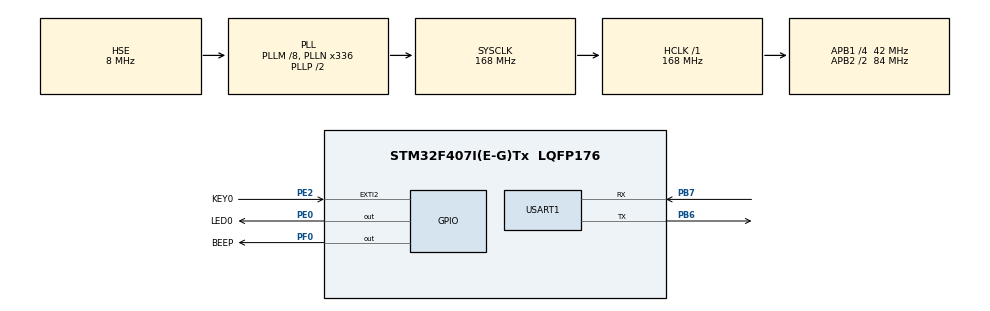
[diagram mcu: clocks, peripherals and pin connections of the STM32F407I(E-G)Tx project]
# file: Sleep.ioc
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Mcu.Family=STM32F4
Mcu.Name=STM32F407I(E-G)Tx
Mcu.Package=LQFP176
NVIC.EXTI2_IRQn=true\:1\:1\:true\:false\:true\:true
NVIC.PriorityGroup=NVIC_PRIORITYGROUP_2
PA13.Mode=Serial_Wire
PA13.Signal=SYS_JTMS-SWDIO
PA14.Mode=Serial_Wire
PA14.Signal=SYS_JTCK-SWCLK
PB6.Mode=Asynchronous
PB6.Signal=USART1_TX
PB7.Mode=Asynchronous
PB7.Signal=USART1_RX
PE0.GPIO_Label=LED0
PE0.GPIO_PuPd=GPIO_NOPULL
PE0.GPIO_Speed=GPIO_SPEED_FREQ_HIGH
PE0.PinState=GPIO_PIN_SET
PE0.Signal=GPIO_Output
PE2.GPIO_Label=KEY0
PE2.GPIO_ModeDefaultEXTI=GPIO_MODE_IT_FALLING
PE2.GPIO_PuPd=GPIO_PULLUP
PE2.Signal=GPXTI2
PF0.GPIO_Label=BEEP
PF0.GPIO_PuPd=GPIO_PULLUP
PF0.GPIO_Speed=GPIO_SPEED_FREQ_HIGH
PF0.Signal=GPIO_Output
PH0-OSC_IN.Mode=HSE-External-Oscillator
PH0-OSC_IN.Signal=RCC_OSC_IN
PH1-OSC_OUT.Mode=HSE-External-Oscillator
PH1-OSC_OUT.Signal=RCC_OSC_OUT
ProjectManager.HeapSize=0x200
ProjectManager.StackSize=0x400
ProjectManager.TargetToolchain=MDK-ARM V5
RCC.48MHZClocksFreq_Value=84000000
RCC.AHBFreq_Value=168000000
RCC.APB1CLKDivider=RCC_HCLK_DIV4
RCC.APB1Freq_Value=42000000
RCC.APB1TimFreq_Value=84000000
RCC.APB2CLKDivider=RCC_HCLK_DIV2
RCC.APB2Freq_Value=84000000
RCC.APB2TimFreq_Value=168000000
RCC.CortexFreq_Value=168000000
RCC.HCLKFreq_Value=168000000
RCC.HSE_VALUE=8000000
RCC.HSI_VALUE=16000000
RCC.LSE_VALUE=32768
RCC.PLLM=8
RCC.PLLN=336
RCC.PLLSourceVirtual=RCC_PLLSOURCE_HSE
RCC.SYSCLKFreq_VALUE=168000000
RCC.SYSCLKSource=RCC_SYSCLKSOURCE_PLLCLK
RCC.VCOOutputFreq_Value=336000000
USART1.VirtualMode=VM_ASYNC
board=Sleep

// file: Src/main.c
/**
  ******************************************************************************
  * @file           : main.c
  * @brief          : Main program body
  ******************************************************************************
  ** This notice applies to any and all portions of this file
  * that are not between comment pairs USER CODE BEGIN and
  * USER CODE END. Other portions of this file, whether
  * inserted by the user or by software development tools
  * are owned by their respective copyright owners.
  *
  * COPYRIGHT(c) 2024 STMicroelectronics
  *
  * Redistribution and use in source and binary forms, with or without modification,
  * are permitted provided that the following conditions are met:
  *   1. Redistributions of source code must retain the above copyright notice,
  *      this list of conditions and the following disclaimer.
  *   2. Redistributions in binary form must reproduce the above copyright notice,
  *      this list of conditions and the following disclaimer in the documentation
  *      and/or other materials provided with the distribution.
  *   3. Neither the name of STMicroelectronics nor the names of its contributors
  *      may be used to endorse or promote products derived from this software
  *      without specific prior written permission.
  *
  * THIS SOFTWARE IS PROVIDED BY THE COPYRIGHT HOLDERS AND CONTRIBUTORS "AS IS"
  * AND ANY EXPRESS OR IMPLIED WARRANTIES, INCLUDING, BUT NOT LIMITED TO, THE
  * IMPLIED WARRANTIES OF MERCHANTABILITY AND FITNESS FOR A PARTICULAR PURPOSE ARE
  * DISCLAIMED. IN NO EVENT SHALL THE COPYRIGHT HOLDER OR CONTRIBUTORS BE LIABLE
  * FOR ANY DIRECT, INDIRECT, INCIDENTAL, SPECIAL, EXEMPLARY, OR CONSEQUENTIAL
  * DAMAGES (INCLUDING, BUT NOT LIMITED TO, PROCUREMENT OF SUBSTITUTE GOODS OR
  * SERVICES; LOSS OF USE, DATA, OR PROFITS; OR BUSINESS INTERRUPTION) HOWEVER
  * CAUSED AND ON ANY THEORY OF LIABILITY, WHETHER IN CONTRACT, STRICT LIABILITY,
  * OR TORT (INCLUDING NEGLIGENCE OR OTHERWISE) ARISING IN ANY WAY OUT OF THE USE
  * OF THIS SOFTWARE, EVEN IF ADVISED OF THE POSSIBILITY OF SUCH DAMAGE.
  *
  ******************************************************************************
  */
#include "main.h"
#include "stm32f4xx_hal.h"
#include "usart.h"
#include "gpio.h"

/* USER CODE BEGIN PV */
/* Private variables ---------------------------------------------------------*/

/* USER CODE END PV */

void SystemClock_Config(void);

/* USER CODE BEGIN PFP */
/* Private function prototypes -----------------------------------------------*/

/* USER CODE END PFP */

int main(void)
{

  /* MCU Configuration----------------------------------------------------------*/

  /* Reset of all peripherals, Initializes the Flash interface and the Systick. */
  HAL_Init();

  /* Configure the system clock */
  SystemClock_Config();

  /* Initialize all configured peripherals */
  MX_GPIO_Init();
  MX_USART1_UART_Init();
  /* USER CODE BEGIN 2 */
	printf("Test sleep mode!\n");

  /* USER CODE END 2 */

  /* Infinite loop */
  /* USER CODE BEGIN WHILE */
  while (1)
  {
		//系统运行，LED0亮
		HAL_GPIO_WritePin(LED0_GPIO_Port, LED0_Pin, GPIO_PIN_RESET);
		HAL_Delay(5000);  //睡眠模式无法烧录，时间给长一些
		printf("System is running!\n");
		printf("Entering sleep mode!\n");
		HAL_GPIO_WritePin(LED0_GPIO_Port, LED0_Pin, GPIO_PIN_SET);
		//进入睡眠模式，LED0亮=灭
		HAL_SuspendTick();  //关闭SysTick中断
		HAL_PWR_EnterSLEEPMode(PWR_MAINREGULATOR_ON, PWR_SLEEPENTRY_WFI);  //以中断唤醒方式立刻进入睡眠模式 阻塞
		printf("out sleep mode!\n");
  /* USER CODE END WHILE */

  }

}

void SystemClock_Config(void)
{

  RCC_OscInitTypeDef RCC_OscInitStruct;
  RCC_ClkInitTypeDef RCC_ClkInitStruct;

    /**Configure the main internal regulator output voltage
    */
  __HAL_RCC_PWR_CLK_ENABLE();

  __HAL_PWR_VOLTAGESCALING_CONFIG(PWR_REGULATOR_VOLTAGE_SCALE1);

    /**Initializes the CPU, AHB and APB busses clocks
    */
  RCC_OscInitStruct.OscillatorType = RCC_OSCILLATORTYPE_HSE;
  RCC_OscInitStruct.HSEState = RCC_HSE_ON;
  RCC_OscInitStruct.PLL.PLLState = RCC_PLL_ON;
  RCC_OscInitStruct.PLL.PLLSource = RCC_PLLSOURCE_HSE;
  RCC_OscInitStruct.PLL.PLLM = 8;
  RCC_OscInitStruct.PLL.PLLN = 336;
  RCC_OscInitStruct.PLL.PLLP = RCC_PLLP_DIV2;
  RCC_OscInitStruct.PLL.PLLQ = 4;
  if (HAL_RCC_OscConfig(&RCC_OscInitStruct) != HAL_OK)
  {
    _Error_Handler(__FILE__, __LINE__);
  }

    /**Initializes the CPU, AHB and APB busses clocks
    */
  RCC_ClkInitStruct.ClockType = RCC_CLOCKTYPE_HCLK|RCC_CLOCKTYPE_SYSCLK
                              |RCC_CLOCKTYPE_PCLK1|RCC_CLOCKTYPE_PCLK2;
  RCC_ClkInitStruct.SYSCLKSource = RCC_SYSCLKSOURCE_PLLCLK;
  RCC_ClkInitStruct.AHBCLKDivider = RCC_SYSCLK_DIV1;
  RCC_ClkInitStruct.APB1CLKDivider = RCC_HCLK_DIV4;
  RCC_ClkInitStruct.APB2CLKDivider = RCC_HCLK_DIV2;

  if (HAL_RCC_ClockConfig(&RCC_ClkInitStruct, FLASH_LATENCY_5) != HAL_OK)
  {
    _Error_Handler(__FILE__, __LINE__);
  }

    /**Configure the Systick interrupt time
    */
  HAL_SYSTICK_Config(HAL_RCC_GetHCLKFreq()/1000);

    /**Configure the Systick
    */
  HAL_SYSTICK_CLKSourceConfig(SYSTICK_CLKSOURCE_HCLK);

  /* SysTick_IRQn interrupt configuration */
  HAL_NVIC_SetPriority(SysTick_IRQn, 0, 0);
}

/* USER CODE BEGIN 4 */
//按键中断函数
void HAL_GPIO_EXTI_Callback(uint16_t GPIO_Pin)  //按键中断处理函数
{
    if(GPIO_Pin == KEY0_Pin)
    {
			/*
      //KEY0是否按下
			if(GPIO_PIN_RESET == HAL_GPIO_ReadPin(KEY0_GPIO_Port, KEY0_Pin)){
				HAL_Delay(20);  //去抖动
				if(GPIO_PIN_RESET == HAL_GPIO_ReadPin(KEY0_GPIO_Port, KEY0_Pin)){
			*/
					//退出睡眠模式
					//开启SysTick中断
					HAL_ResumeTick();
					//蜂鸣器响50ms
					HAL_GPIO_WritePin(BEEP_GPIO_Port, BEEP_Pin, GPIO_PIN_SET);
					HAL_Delay(50);
					HAL_GPIO_WritePin(BEEP_GPIO_Port, BEEP_Pin, GPIO_PIN_RESET);
/*
				}
			}
*/
    }
}
/* USER CODE END 4 */

void _Error_Handler(char *file, int line)
{
  while(1)
  {
  }
}

/************************ (C) COPYRIGHT STMicroelectronics *****END OF FILE****/
